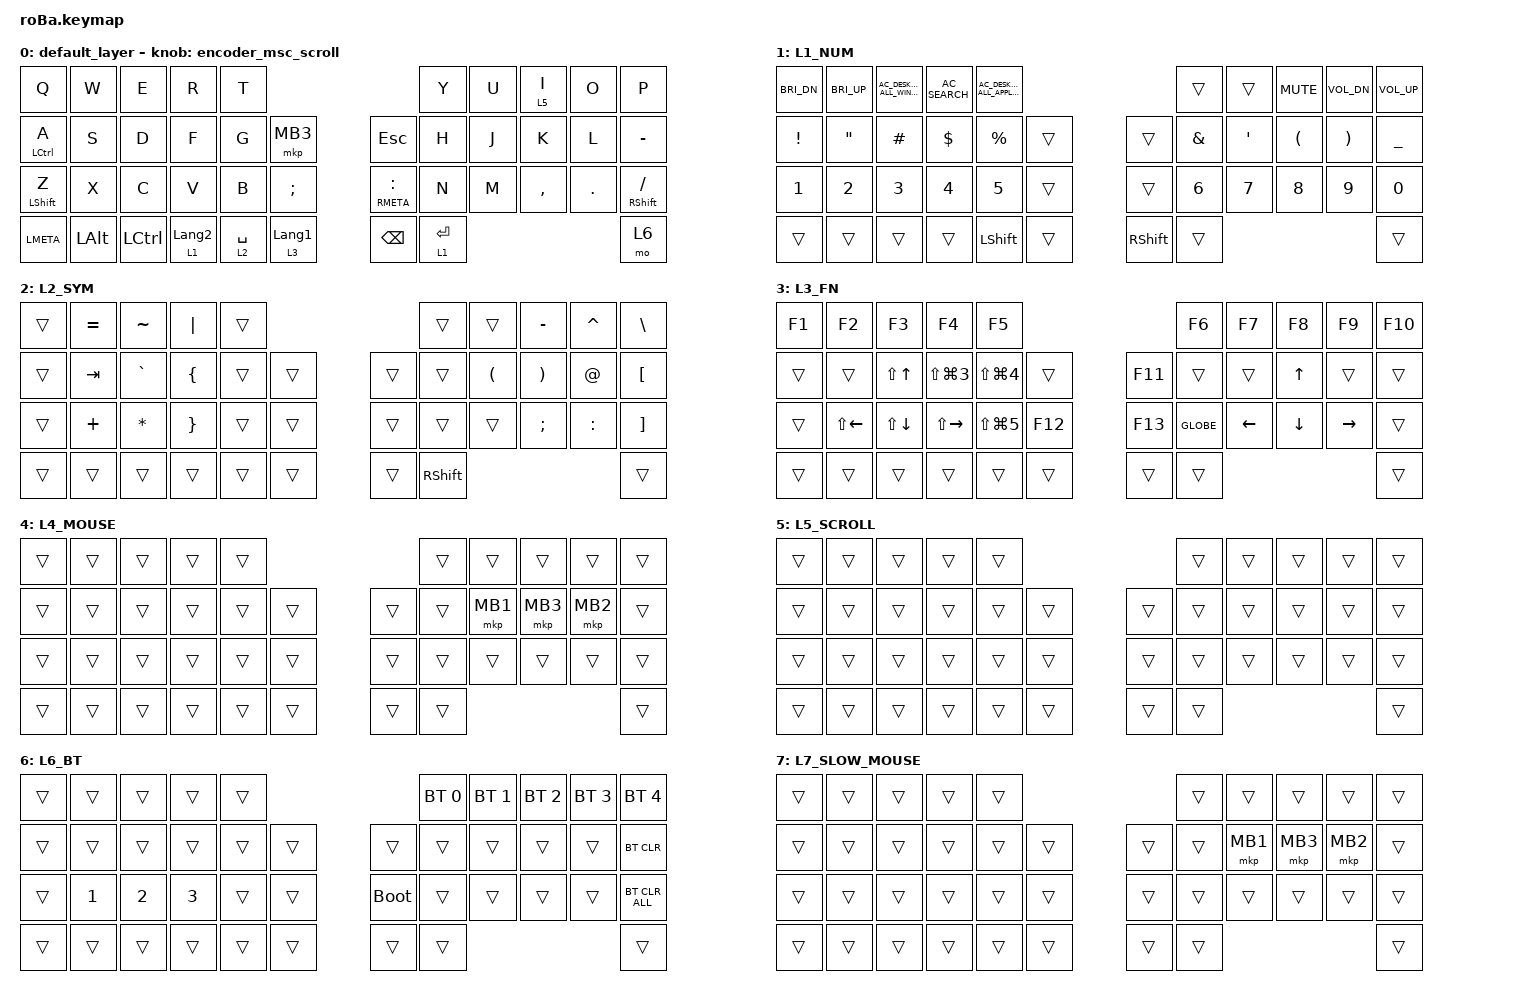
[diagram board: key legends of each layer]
#include <behaviors.dtsi>
#include <input/processors.dtsi>
#include <dt-bindings/zmk/bt.h>
#include <dt-bindings/zmk/keys.h>

// Somehow values less than 80 don't work well
#define ZMK_POINTING_DEFAULT_SCRL_VAL 80

#include <dt-bindings/zmk/pointing.h>

// Copied from https://github.com/kureyakey/zmk-config-zonkey/blob/main/config/zonkey.keymap
#define JP_KANA  LANGUAGE_1  // かな
#define JP_EISU  LANGUAGE_2  // 英数

#define MISSION_CONTROL  C_AC_DESKTOP_SHOW_ALL_WINDOWS
#define LAUNCHPAD        C_AC_DESKTOP_SHOW_ALL_APPLICATIONS

&mt {
    flavor = "balanced";
    quick-tap-ms = <0>;
};

&trackball {
    scroll-layers = <5>;
};

&mkp_input_listener {
    // on mkp events, extend the automouse layer duration
    input-processors = <&zip_temp_layer 4 600>;
};

/ {
    combos {
        compatible = "zmk,combos";

        esc {
            bindings = <&kp ESCAPE>;
            layers = <0>;
            key-positions = <0 10>;
        };

        parens {
            bindings = <&parens>;
            layers = <0>;
            key-positions = <18 19>;
        };

        braces {
            bindings = <&braces>;
            layers = <0>;
            key-positions = <7 8>;
        };

        brackets {
            bindings = <&brackets>;
            layers = <0>;
            key-positions = <19 20>;
        };
    };

    macros {
        to_l0: to_l0 {
            compatible = "zmk,behavior-macro-one-param";
            #binding-cells = <1>;
            bindings = <&to 0 &macro_param_1to1 &kp MACRO_PLACEHOLDER>;
            label = "TO_LAYER_0";
        };

        parens: parens {
            compatible = "zmk,behavior-macro";
            #binding-cells = <0>;
            bindings = <&kp LEFT_PARENTHESIS &kp RIGHT_PARENTHESIS &kp LEFT_ARROW>;
            label = "PARENS";
        };

        braces: braces {
            compatible = "zmk,behavior-macro";
            #binding-cells = <0>;
            bindings = <&kp LEFT_BRACE &kp RIGHT_BRACE &kp LEFT_ARROW>;
            label = "BRACES";
        };

        brackets: brackets {
            compatible = "zmk,behavior-macro";
            #binding-cells = <0>;
            bindings = <&kp LEFT_BRACKET &kp RIGHT_BRACKET &kp LEFT_ARROW>;
            label = "BRACKETS";
        };
    };

    behaviors {
        // `&lt_to_l0 X Y`:
        //    Hold: enable layer X temporarily
        //    Tap:  go to layer 0, then press key Y
        lt_to_l0: lt_to_l0 {
            compatible = "zmk,behavior-hold-tap";
            label = "LAYER_TAP_TO_0";
            bindings = <&mo>, <&to_l0>;

            #binding-cells = <2>;
            tapping-term-ms = <200>;
        };

        encoder_msc_scroll: encoder_msc_scroll {
            compatible = "zmk,behavior-sensor-rotate";
            label = "ENCODER_MSC_SCROLL";
            #sensor-binding-cells = <0>;
            bindings = <&msc SCRL_UP>, <&msc SCRL_DOWN>;
            // Somehow values less than 20 don't work well
            tap-ms = <20>;
        };
    };

    conditional_layers {
        compatible = "zmk,conditional-layers";
        slow_mouse {
            if-layers = <2 4>;
            then-layer = <7>;
        };
    };

    keymap {
        compatible = "zmk,keymap";

        default_layer {
            bindings = <
&kp Q         &kp W     &kp E      &kp R                &kp T                                                  &kp Y        &kp U  &lt 5 I    &kp O    &kp P
&mt LCTRL A   &kp S     &kp D      &kp F                &kp G        &mkp MB3                 &kp ESCAPE       &kp H        &kp J  &kp K      &kp L    &kp MINUS
&mt LSHIFT Z  &kp X     &kp C      &kp V                &kp B        &kp SEMI                 &mt RMETA COLON  &kp N        &kp M  &kp COMMA  &kp DOT  &mt RSHIFT SLASH
&kp LMETA     &kp LALT  &kp LCTRL  &lt_to_l0 1 JP_EISU  &lt 2 SPACE  &lt_to_l0 3 JP_KANA      &kp BACKSPACE    &lt 1 ENTER                             &mo 6
            >;

            sensor-bindings = <&encoder_msc_scroll>;
        };

        L1_NUM {
            bindings = <
&kp C_BRI_DN  &kp C_BRI_UP  &kp MISSION_CONTROL  &kp C_AC_SEARCH  &kp LAUNCHPAD                          &trans    &trans   &kp C_MUTE  &kp C_VOL_DN  &kp C_VOL_UP
&kp EXCL      &kp DQT       &kp HASH             &kp DOLLAR       &kp PERCENT    &trans      &trans      &kp AMPS  &kp SQT  &kp LPAR    &kp RPAR      &kp UNDERSCORE
&kp N1        &kp N2        &kp N3               &kp N4           &kp N5         &trans      &trans      &kp N6    &kp N7   &kp N8      &kp N9        &kp N0
&trans        &trans        &trans               &trans           &kp LSHIFT     &trans      &kp RSHIFT  &trans                                       &trans
            >;
        };

        L2_SYM {
            bindings = <
&trans  &kp EQUAL  &kp TILDE     &kp PIPE  &trans                      &trans      &trans    &kp MINUS  &kp CARET  &kp BACKSLASH
&trans  &kp TAB    &kp GRAVE     &kp LBRC  &trans  &trans      &trans  &trans      &kp LPAR  &kp RPAR   &kp AT     &kp LBKT
&trans  &kp PLUS   &kp ASTERISK  &kp RBRC  &trans  &trans      &trans  &trans      &trans    &kp SEMI   &kp COLON  &kp RBKT
&trans  &trans     &trans        &trans    &trans  &trans      &trans  &kp RSHIFT                                  &trans
            >;
        };

        L3_FN {
            bindings = <
&kp F1  &kp F2        &kp F3        &kp F4          &kp F5                                &kp F6     &kp F7    &kp F8    &kp F9     &kp F10
&trans  &trans        &kp LS(UP)    &kp LS(LG(N3))  &kp LS(LG(N4))  &trans       &kp F11  &trans     &trans    &kp UP    &trans     &trans
&trans  &kp LS(LEFT)  &kp LS(DOWN)  &kp LS(RIGHT)   &kp LS(LG(N5))  &kp F12      &kp F13  &kp GLOBE  &kp LEFT  &kp DOWN  &kp RIGHT  &trans
&trans  &trans        &trans        &trans          &trans          &trans       &trans   &trans                                    &trans
            >;
        };

        L4_MOUSE {
            bindings = <
&trans  &trans  &trans  &trans  &trans                      &trans  &trans    &trans    &trans    &trans
&trans  &trans  &trans  &trans  &trans  &trans      &trans  &trans  &mkp MB1  &mkp MB3  &mkp MB2  &trans
&trans  &trans  &trans  &trans  &trans  &trans      &trans  &trans  &trans    &trans    &trans    &trans
&trans  &trans  &trans  &trans  &trans  &trans      &trans  &trans                                &trans
            >;
        };

        L5_SCROLL {
            bindings = <
&trans  &trans  &trans  &trans  &trans                      &trans  &trans  &trans  &trans  &trans
&trans  &trans  &trans  &trans  &trans  &trans      &trans  &trans  &trans  &trans  &trans  &trans
&trans  &trans  &trans  &trans  &trans  &trans      &trans  &trans  &trans  &trans  &trans  &trans
&trans  &trans  &trans  &trans  &trans  &trans      &trans  &trans                          &trans
            >;
        };

        L6_BT {
            bindings = <
&trans  &trans  &trans  &trans  &trans                           &bt BT_SEL 0  &bt BT_SEL 1  &bt BT_SEL 2  &bt BT_SEL 3  &bt BT_SEL 4
&trans  &trans  &trans  &trans  &trans  &trans      &trans       &trans        &trans        &trans        &trans        &bt BT_CLR
&trans  &kp N1  &kp N2  &kp N3  &trans  &trans      &bootloader  &trans        &trans        &trans        &trans        &bt BT_CLR_ALL
&trans  &trans  &trans  &trans  &trans  &trans      &trans       &trans                                                  &trans
            >;
        };

        L7_SLOW_MOUSE {
            bindings = <
&trans  &trans  &trans  &trans  &trans                      &trans  &trans    &trans    &trans    &trans
&trans  &trans  &trans  &trans  &trans  &trans      &trans  &trans  &mkp MB1  &mkp MB3  &mkp MB2  &trans
&trans  &trans  &trans  &trans  &trans  &trans      &trans  &trans  &trans    &trans    &trans    &trans
&trans  &trans  &trans  &trans  &trans  &trans      &trans  &trans                                &trans
            >;
        };
    };
};
